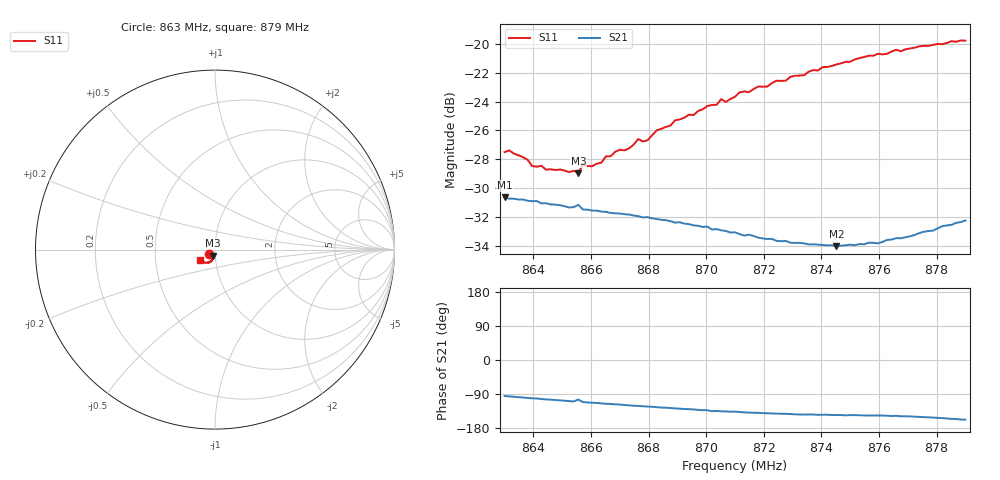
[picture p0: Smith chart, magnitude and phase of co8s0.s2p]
# HZ S RI R 50
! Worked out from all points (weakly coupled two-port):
!   101 points, 863 MHz to 879 MHz, reference 50 ohm
!   highest |S21| = -30.65 dB at 863 MHz (marker M1); lowest = -34.0 dB at 874.52 MHz (marker M2)
!   lowest |S11| = -29.0 dB at 865.56 MHz (marker M3), VSWR 1.07, Z = 48.6 - j3.21 ohm
!   |S11| at or under -10 dB: start of sweep to end of sweep
!   S12 and S22 are empty: the file has one direction only
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8.63e8  -0.0332 -0.026  -0.00259 -0.0292  0 0  0 0
8.6316e8  -0.0334 -0.0267  -0.00308 -0.0289  0 0  0 0
8.6364e8  -0.0306 -0.0265  -0.0045 -0.0285  0 0  0 0
8.6396e8  -0.0264 -0.027  -0.00549 -0.028  0 0  0 0
8.6524e8  -0.0198 -0.03  -0.00864 -0.0257  0 0  0 0
8.6556e8  -0.0135 -0.033  -0.00689 -0.0268  0 0  0 0
8.6572e8  -0.0179 -0.0339  -0.00958 -0.0249  0 0  0 0
8.6604e8  -0.0165 -0.0339  -0.0103 -0.0244  0 0  0 0
8.6636e8  -0.0164 -0.0351  -0.0109 -0.0239  0 0  0 0
8.6652e8  -0.0145 -0.0381  -0.0113 -0.0236  0 0  0 0
8.6732e8  -0.0126 -0.0416  -0.0127 -0.0222  0 0  0 0
8.6764e8  -0.0134 -0.0448  -0.0131 -0.0216  0 0  0 0
8.6796e8  -0.0106 -0.0451  -0.0136 -0.0211  0 0  0 0
8.6844e8  -0.0114 -0.0495  -0.0142 -0.02  0 0  0 0
8.7036e8  -0.0167 -0.0592  -0.016 -0.0163  0 0  0 0
8.7052e8  -0.0186 -0.0616  -0.0161 -0.0158  0 0  0 0
8.7068e8  -0.0173 -0.0605  -0.0161 -0.0157  0 0  0 0
8.71e8  -0.0196 -0.0626  -0.016 -0.0154  0 0  0 0
8.7372e8  -0.0361 -0.0727  -0.0163 -0.0119  0 0  0 0
8.7452e8  -0.0432 -0.0731  -0.0163 -0.0114  0 0  0 0
8.7644e8  -0.061 -0.0718  -0.0178 -0.0112  0 0  0 0
8.79e8  -0.0847 -0.058  -0.0226 -0.00936  0 0  0 0
